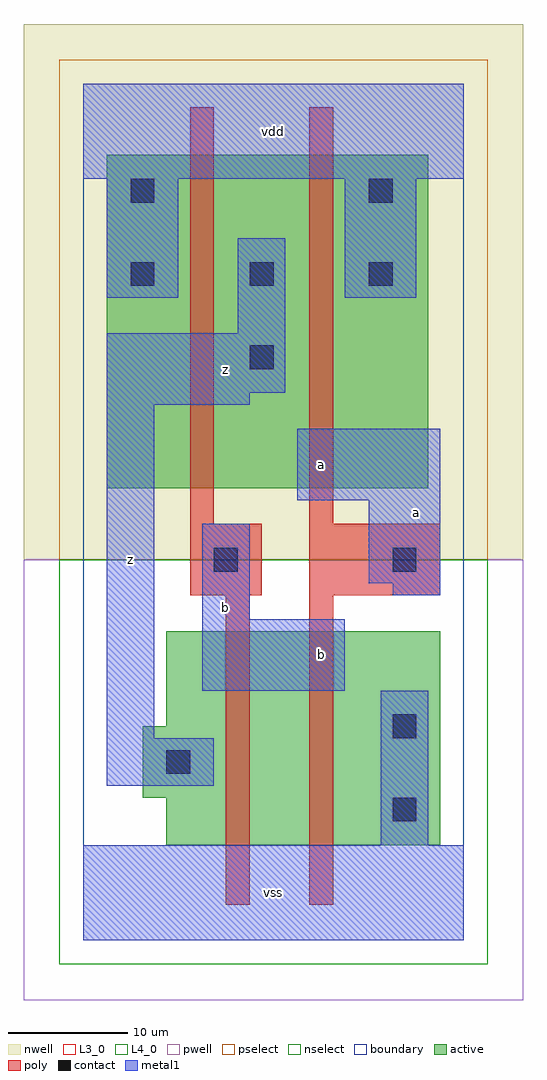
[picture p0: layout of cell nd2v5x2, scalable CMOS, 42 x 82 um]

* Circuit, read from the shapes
.subckt nd2v5x2 a b vdd vss z
M1 n1 b z VSUBS nfet w=18u l=2u
M2 vss a n1 VSUBS nfet w=18u l=2u
M3 z b vdd n2 pfet w=28u l=2u
M4 vdd a z n2 pfet w=28u l=2u
.ends

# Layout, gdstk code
import gdstk
lib = gdstk.Library(unit=1e-6, precision=1e-09)
def R(c, l, rs):  # rectangles x0, y0, x1, y1
    for r in rs: c.add(gdstk.rectangle(r[:2], r[2:], *l))
def A(c, l, x, y, w, h, nx, ny, dx, dy):  # array of equal rectangles
    R(c, l, [(x+i*dx, y+j*dy, x+i*dx+w, y+j*dy+h) for i in range(nx) for j in range(ny)])
L3_0 = (3, 0)
L4_0 = (4, 0)
contact = (25, 0)
pwell = (41, 0)
nwell = (42, 0)
active = (43, 0)
pselect = (44, 0)
nselect = (45, 0)
poly = (46, 0)
metal1 = (49, 0)
boundary = (63, 0)

nd2v5x2 = lib.new_cell('nd2v5x2')
R(nd2v5x2, L3_0, [(7,8,30,12), (5,12,30,18), (7,18,30,26)])
R(nd2v5x2, L4_0, [(2,38,29,66)])
A(nd2v5x2, contact, 4, 55, 2, 2, 3, 1, 10, 0)
R(nd2v5x2, contact, [(26,10,28,12), (7,14,9,16), (26,17,28,19), (11,31,13,33), (26,31,28,33), (14,48,16,50), (4,62,6,64), (24,62,26,64)])
R(nd2v5x2, pwell, [(-5,-5,37,32)])
R(nd2v5x2, nwell, [(-5,32,37,77)])
R(nd2v5x2, active, [(7,8,30,12), (5,12,30,18), (7,18,30,26), (2,38,29,66)])
R(nd2v5x2, pselect, [(-2,32,34,74)])
R(nd2v5x2, nselect, [(-2,-2,34,32)])
R(nd2v5x2, poly, [(12,3,14,29), (19,3,21,29), (9,29,15,35), (19,29,30,35), (9,35,11,70), (19,35,21,70)])
R(nd2v5x2, metal1, [(0,0,32,8), (25,8,29,21), (2,13,11,17), (2,17,6,45), (10,21,22,27), (10,27,14,35), (26,29,30,30), (24,30,30,37), (18,37,30,43), (2,45,14,46), (2,46,17,51), (13,51,17,59), (2,54,8,64), (22,54,28,64), (0,64,32,72)])
R(nd2v5x2, boundary, [(0,0,32,72)])
nd2v5x2.add(gdstk.Label('z', (4,32), layer=49, texttype=0))
nd2v5x2.add(gdstk.Label('b', (12,28), layer=49, texttype=0))
nd2v5x2.add(gdstk.Label('z', (12,48), layer=49, texttype=0))
nd2v5x2.add(gdstk.Label('vss', (16,4), layer=49, texttype=0))
nd2v5x2.add(gdstk.Label('b', (20,24), layer=49, texttype=0))
nd2v5x2.add(gdstk.Label('a', (20,40), layer=49, texttype=0))
nd2v5x2.add(gdstk.Label('vdd', (16,68), layer=49, texttype=0))
nd2v5x2.add(gdstk.Label('a', (28,36), layer=49, texttype=0))

lib.write_gds('nd2v5x2.gds')
